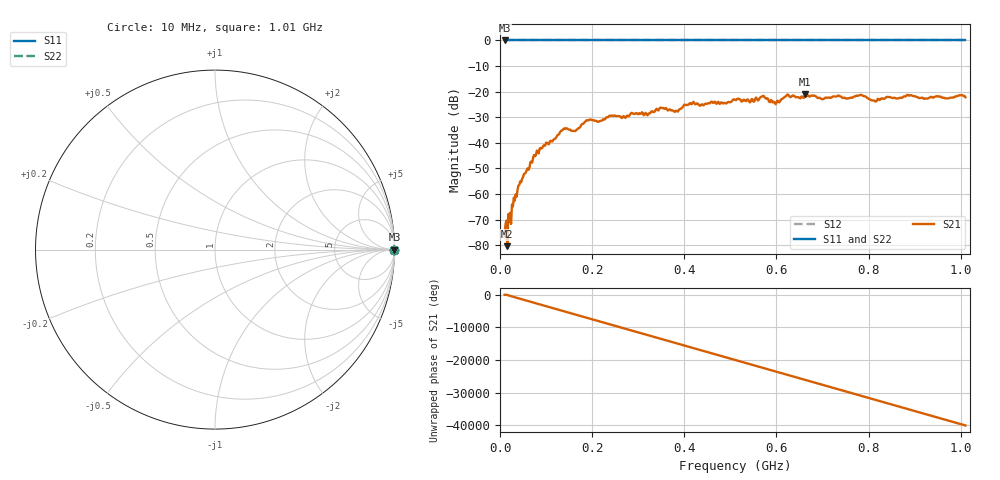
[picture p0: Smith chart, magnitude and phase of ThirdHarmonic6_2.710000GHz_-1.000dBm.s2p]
! 8/17/2025 6:32:43 AM
! C:\ANRITSUVNA\TEMP\TEMP.S2P
! CHANNEL.1
! TR.MEASUREMENT
! RAW.DATA
! RF.CORRECTION.OFF
! AVERAGING.OFF
! IF.BANDWIDTH: 5KHZ
! SWEEPTYPE:  FREQ.SWEEP(Linear)
! Reference Plane Port Info
! PORT:  PORT1  PORT2
! DISTANCE:  0  m  0  m
! TIME:  0  s  0  s
! PHASE.OFFSET:  0  deg.  0  deg.
! LOSS:  0  dB  0  dB
! REF.LOSS:  0  dB  0  dB
! REF.FREQ:  0  Hz  0  Hz
! Power Info
! POWER:  -20  dBm  -20  dBm
! EFF.POWER:  -20  dBm  -20  dBm
! SOURCE.ATTEN:  0  dB  0  dB
! TEST.ATTEN:  0  dB  0  dB
# GHZ S RI R 50.0
! FREQ.GHZ  S11RE  S11IM  S21RE  S21IM  S12RE  S12IM  S22RE  S22IM
!; PortSelection: Port_12
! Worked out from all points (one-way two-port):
!   501 points, 10 MHz to 1.01 GHz, reference 50 ohm
!   highest |S21| = -21.07 dB at 662 MHz (marker M1); lowest = -80.3 dB at 16 MHz (marker M2)
!   lowest |S11| = 0.0 dB at 10 MHz (marker M3)
!   |S11| at or under -10 dB: nowhere
!   |S22| runs from 0.0 to 0.0 dB; largest |S21 - S12| = 1.1
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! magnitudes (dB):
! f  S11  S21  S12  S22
! 10 MHz  0.0  -76.6  0.0  0.0
! 16 MHz  0.0  -80.3  0.0  0.0
! 20 MHz  0.0  -70.8  0.0  0.0
! 30 MHz  0.0  -61.4  0.0  0.0
! 42 MHz  0.0  -56.3  0.0  0.0
! 76 MHz  0.0  -45.2  0.0  0.0
! 136 MHz  0.0  -35.0  0.0  0.0
! 162 MHz  0.0  -35.4  0.0  0.0
! 178 MHz  0.0  -32.7  0.0  0.0
! 344 MHz  0.0  -27.3  0.0  0.0
! 382 MHz  0.0  -27.4  0.0  0.0
! 416 MHz  0.0  -24.9  0.0  0.0
! 510 MHz  0.0  -23.2  0.0  0.0
! 570 MHz  0.0  -21.7  0.0  0.0
! 596 MHz  0.0  -24.1  0.0  0.0
! 622 MHz  0.0  -21.5  0.0  0.0
! 662 MHz  0.0  -21.1  0.0  0.0
! 678 MHz  0.0  -21.6  0.0  0.0
! 782 MHz  0.0  -21.2  0.0  0.0
! 812 MHz  0.0  -23.5  0.0  0.0
! 844 MHz  0.0  -22.1  0.0  0.0
! 1.01 GHz  0.0  -22.2  0.0  0.0
